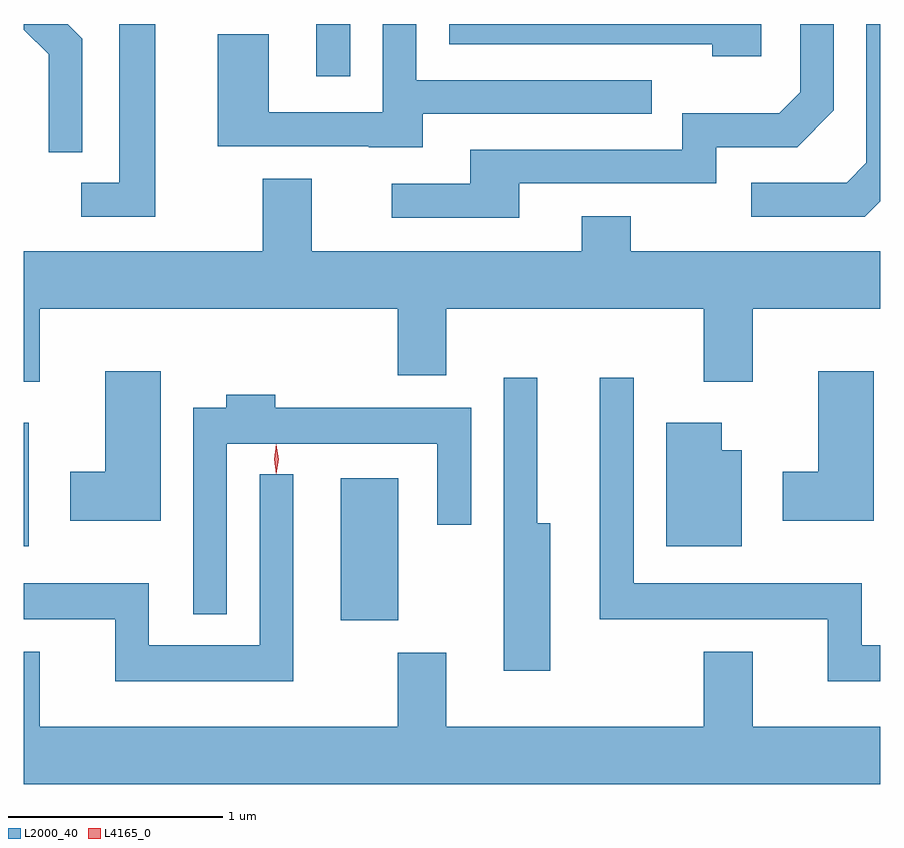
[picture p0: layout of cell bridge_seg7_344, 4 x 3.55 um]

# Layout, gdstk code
import gdstk
lib = gdstk.Library(unit=1e-6, precision=1e-09)
def R(c, l, rs):  # rectangles x0, y0, x1, y1
    for r in rs: c.add(gdstk.rectangle(r[:2], r[2:], *l))
def P(c, l, *ps):  # polygons
    for p in ps: c.add(gdstk.Polygon(p, *l))
L2000_40 = (2000, 40)
L4165_0 = (4165, 0)

bridge_seg7_344 = lib.new_cell('bridge_seg7_344')
R(bridge_seg7_344, L2000_40, [(1200.566,1768.361,1200.834,1769.024), (1199.085,1768.706,1199.109,1769.284), (1200.451,1770.903,1200.609,1771.146)])
P(bridge_seg7_344, L2000_40, [(1202.529,1771.146),(1201.071,1771.146),(1201.071,1771.051),(1202.301,1771.051),(1202.301,1770.996),(1202.529,1770.996)],
  [(1203.085,1770.319),(1203.085,1771.146),(1203.021,1771.146),(1203.021,1770.497),(1202.929,1770.404),(1202.483,1770.404),(1202.483,1770.246),(1203.012,1770.246)],
  [(1199.359,1771.077),(1199.29,1771.146),(1199.085,1771.146),(1199.085,1771.12),(1199.201,1771.004),(1199.201,1770.548),(1199.359,1770.548)],
  [(1199.699,1771.146),(1199.531,1771.146),(1199.531,1770.404),(1199.353,1770.404),(1199.353,1770.246),(1199.699,1770.246)],
  [(1200.949,1770.726),(1202.018,1770.726),(1202.018,1770.884),(1200.919,1770.884),(1200.919,1771.146),(1200.761,1771.146),(1200.761,1770.734),(1200.229,1770.734),(1200.229,1771.099),(1199.991,1771.099),(1199.991,1770.576),(1200.695,1770.576),(1200.695,1770.571),(1200.949,1770.571)],
  [(1201.399,1770.401),(1202.319,1770.401),(1202.319,1770.571),(1202.697,1770.571),(1202.869,1770.744),(1202.869,1771.146),(1202.711,1771.146),(1202.711,1770.827),(1202.614,1770.729),(1202.161,1770.729),(1202.161,1770.559),(1201.171,1770.559),(1201.171,1770.399),(1200.803,1770.399),(1200.803,1770.241),(1201.399,1770.241)],
  [(1199.159,1769.816),(1200.831,1769.816),(1200.831,1769.506),(1201.059,1769.506),(1201.059,1769.816),(1202.261,1769.816),(1202.261,1769.476),(1202.489,1769.476),(1202.489,1769.816),(1203.085,1769.816),(1203.085,1770.084),(1201.919,1770.084),(1201.919,1770.249),(1201.691,1770.249),(1201.691,1770.084),(1200.429,1770.084),(1200.429,1770.424),(1200.201,1770.424),(1200.201,1770.084),(1199.085,1770.084),(1199.085,1769.476),(1199.159,1769.476)],
  [(1203.054,1769.524),(1202.796,1769.524),(1202.796,1769.054),(1202.631,1769.054),(1202.631,1768.826),(1203.054,1768.826)],
  [(1199.724,1769.524),(1199.466,1769.524),(1199.466,1769.054),(1199.301,1769.054),(1199.301,1768.826),(1199.724,1768.826)],
  [(1203.085,1768.244),(1202.999,1768.244),(1202.999,1768.534),(1201.934,1768.534),(1201.934,1769.493),(1201.776,1769.493),(1201.776,1768.366),(1202.841,1768.366),(1202.841,1768.076),(1203.085,1768.076)],
  [(1201.544,1768.814),(1201.484,1768.814),(1201.484,1769.493),(1201.326,1769.493),(1201.326,1768.126),(1201.544,1768.126)],
  [(1200.034,1769.186),(1201.016,1769.186),(1201.016,1768.808),(1201.174,1768.808),(1201.174,1769.354),(1200.259,1769.354),(1200.259,1769.414),(1200.031,1769.414),(1200.031,1769.354),(1199.876,1769.354),(1199.876,1768.388),(1200.034,1768.388)],
  [(1202.439,1769.154),(1202.344,1769.154),(1202.344,1769.284),(1202.086,1769.284),(1202.086,1768.706),(1202.439,1768.706)],
  [(1200.344,1769.043),(1200.186,1769.043),(1200.186,1768.244),(1199.669,1768.244),(1199.669,1768.534),(1199.085,1768.534),(1199.085,1768.366),(1199.511,1768.366),(1199.511,1768.076),(1200.344,1768.076)],
  [(1203.085,1767.864),(1202.489,1767.864),(1202.489,1768.214),(1202.261,1768.214),(1202.261,1767.864),(1201.059,1767.864),(1201.059,1768.209),(1200.831,1768.209),(1200.831,1767.864),(1199.159,1767.864),(1199.159,1768.214),(1199.085,1768.214),(1199.085,1767.596),(1203.085,1767.596)])
P(bridge_seg7_344, L4165_0, [(1200.264,1769.044),(1200.255,1769.113),(1200.264,1769.183),(1200.265,1769.183),(1200.265,1769.183),(1200.275,1769.113),(1200.265,1769.044),(1200.265,1769.044)],
  [(1200.265,1769.047),(1200.264,1769.048),(1200.255,1769.114),(1200.264,1769.18),(1200.265,1769.181),(1200.265,1769.18),(1200.275,1769.114),(1200.265,1769.048)])

lib.write_gds('bridge_seg7_344.gds')
